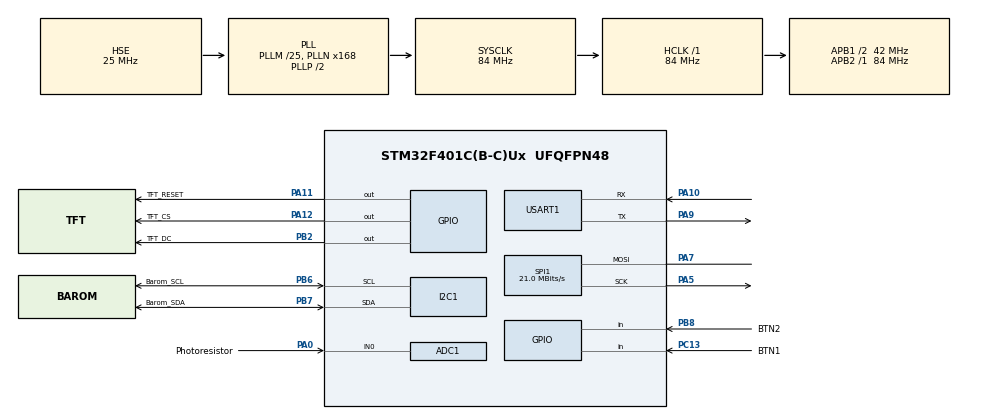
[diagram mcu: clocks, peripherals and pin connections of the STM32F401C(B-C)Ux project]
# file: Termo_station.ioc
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ADC1.Channel-0\#ChannelRegularConversion=ADC_CHANNEL_0
ADC1.NbrOfConversionFlag=1
ADC1.Rank-0\#ChannelRegularConversion=1
ADC1.SamplingTime-0\#ChannelRegularConversion=ADC_SAMPLETIME_3CYCLES
ADC1.master=1
Mcu.Family=STM32F4
Mcu.Name=STM32F401C(B-C)Ux
Mcu.Package=UFQFPN48
NVIC.PriorityGroup=NVIC_PRIORITYGROUP_4
NVIC.TIM2_IRQn=true\:0\:0\:false\:false\:true\:true\:true\:true
NVIC.TIM4_IRQn=true\:0\:0\:false\:false\:true\:true\:true\:true
PA0-WKUP.GPIO_Label=Photoresistor
PA0-WKUP.Signal=ADCx_IN0
PA10.Mode=Asynchronous
PA10.Signal=USART1_RX
PA11.GPIO_Label=TFT_RESET
PA11.Signal=GPIO_Output
PA12.GPIO_Label=TFT_CS
PA12.Signal=GPIO_Output
PA13.Mode=Serial_Wire
PA13.Signal=SYS_JTMS-SWDIO
PA14.Mode=Serial_Wire
PA14.Signal=SYS_JTCK-SWCLK
PA5.Mode=Simplex_Bidirectional_Master
PA5.Signal=SPI1_SCK
PA7.Mode=Simplex_Bidirectional_Master
PA7.Signal=SPI1_MOSI
PA9.Mode=Asynchronous
PA9.Signal=USART1_TX
PB2.GPIO_Label=TFT_DC
PB2.Signal=GPIO_Output
PB6.GPIO_Label=Barom_SCL
PB6.Mode=I2C
PB6.Signal=I2C1_SCL
PB7.GPIO_Label=Barom_SDA
PB7.Mode=I2C
PB7.Signal=I2C1_SDA
PB8.GPIO_Label=BTN2
PB8.GPIO_PuPd=GPIO_PULLDOWN
PB8.Signal=GPIO_Input
PC13-ANTI_TAMP.GPIO_Label=BTN1
PC13-ANTI_TAMP.GPIO_PuPd=GPIO_PULLDOWN
PC13-ANTI_TAMP.Signal=GPIO_Input
PC14-OSC32_IN.Mode=LSE-External-Oscillator
PC14-OSC32_IN.Signal=RCC_OSC32_IN
PC15-OSC32_OUT.Mode=LSE-External-Oscillator
PC15-OSC32_OUT.Signal=RCC_OSC32_OUT
PH0\ -\ OSC_IN.Mode=HSE-External-Oscillator
PH0\ -\ OSC_IN.Signal=RCC_OSC_IN
PH1\ -\ OSC_OUT.Mode=HSE-External-Oscillator
PH1\ -\ OSC_OUT.Signal=RCC_OSC_OUT
ProjectManager.HeapSize=0x200
ProjectManager.StackSize=0x400
ProjectManager.TargetToolchain=MDK-ARM V5.32
RCC.48MHZClocksFreq_Value=42000000
RCC.AHBFreq_Value=84000000
RCC.APB1CLKDivider=RCC_HCLK_DIV2
RCC.APB1Freq_Value=42000000
RCC.APB1TimFreq_Value=84000000
RCC.APB2Freq_Value=84000000
RCC.APB2TimFreq_Value=84000000
RCC.CortexFreq_Value=84000000
RCC.HCLKFreq_Value=84000000
RCC.HSE_VALUE=25000000
RCC.HSI_VALUE=16000000
RCC.PLLM=25
RCC.PLLN=168
RCC.PLLSourceVirtual=RCC_PLLSOURCE_HSE
RCC.RCC_RTC_Clock_Source=RCC_RTCCLKSOURCE_LSE
RCC.RCC_RTC_Clock_SourceVirtual=RCC_RTCCLKSOURCE_LSE
RCC.SYSCLKFreq_VALUE=84000000
RCC.SYSCLKSource=RCC_SYSCLKSOURCE_PLLCLK
RCC.VCOOutputFreq_Value=168000000
RTC.Date=31
RTC.Hours=19
RTC.Minutes=10
RTC.Month=RTC_MONTH_MARCH
RTC.Seconds=10
RTC.WeekDay=RTC_WEEKDAY_THURSDAY
RTC.Year=22
SH.ADCx_IN0.0=ADC1_IN0,IN0
SPI1.BaudRatePrescaler=SPI_BAUDRATEPRESCALER_4
SPI1.CalculateBaudRate=21.0 MBits/s
SPI1.Direction=SPI_DIRECTION_1LINE
SPI1.Mode=SPI_MODE_MASTER
SPI1.VirtualType=VM_MASTER
TIM2.AutoReloadPreload=TIM_AUTORELOAD_PRELOAD_ENABLE
TIM2.Period=42000
TIM2.Prescaler=2000
TIM3.Period=65535
TIM4.AutoReloadPreload=TIM_AUTORELOAD_PRELOAD_ENABLE
TIM4.Period=21000
TIM4.Prescaler=1000
USART1.VirtualMode=VM_ASYNC
VP_RTC_VS_RTC_Activate.Mode=RTC_Enabled
VP_RTC_VS_RTC_Calendar.Mode=RTC_Calendar
VP_TIM2_VS_ClockSourceINT.Mode=Internal
VP_TIM3_VS_ClockSourceINT.Mode=Internal
VP_TIM4_VS_ClockSourceINT.Mode=Internal
board=custom

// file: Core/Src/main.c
/* USER CODE BEGIN Header */
/**
  ******************************************************************************
  * @file           : main.c
  * @brief          : Main program body
  ******************************************************************************
  * @attention
  *
  * Copyright (c) 2022 STMicroelectronics.
  * All rights reserved.
  *
  * This software is licensed under terms that can be found in the LICENSE file
  * in the root directory of this software component.
  * If no LICENSE file comes with this software, it is provided AS-IS.
  *
  ******************************************************************************
  */
/* USER CODE END Header */
#include "main.h"

/* USER CODE BEGIN Includes */
#include "stdio.h"
#include "st7735.h"
#include "fonts.h"
#include <string.h>
#include "BME280.h"
#include "RTC.h"
#include "PhotoR.h"
/* USER CODE END Includes */

/* USER CODE BEGIN PD */
#define BTN_PRESS_TIME 3000 //function returns microseconds!
/* USER CODE END PD */

ADC_HandleTypeDef hadc1;

I2C_HandleTypeDef hi2c1;

RTC_HandleTypeDef hrtc;

SPI_HandleTypeDef hspi1;

TIM_HandleTypeDef htim2;
TIM_HandleTypeDef htim3;
TIM_HandleTypeDef htim4;

UART_HandleTypeDef huart1;

/* USER CODE BEGIN PV */
//typedef enum {
//	timer_first,
//	timer_1 = timer_first, //Not used
//	timer_2,
//	timer_3,               //Not used
//	timer_4,
//	timer_last
//} etimer_callback_t;

char str1[100];
volatile uint32_t timer_val = 0;

#ifdef __GNUC__
/* With GCC, small printf (option LD Linker->Libraries->Small printf
   set to 'Yes') calls __io_putchar() */
#define PUTCHAR_PROTOTYPE int __io_putchar(int ch)
#else
#define PUTCHAR_PROTOTYPE int fputc(int ch, FILE *f)
#endif /* __GNUC__ */

/**
  * @brief  Retargets the C library printf function to the USART.
  * @param  None
  * @retval None
  */
PUTCHAR_PROTOTYPE
{
  /* Place your implementation of fputc here */
  /* e.g. write a character to the USART3 and Loop until the end of transmission */
  HAL_UART_Transmit(&huart1, (uint8_t *)&ch, 1, 0xFFFF);

  return ch;
}
/* USER CODE END PV */

void SystemClock_Config(void);
static void MX_GPIO_Init(void);
static void MX_USART1_UART_Init(void);
static void MX_SPI1_Init(void);
static void MX_ADC1_Init(void);
static void MX_I2C1_Init(void);
static void MX_RTC_Init(void);
static void MX_TIM3_Init(void);
static void MX_TIM4_Init(void);
static void MX_TIM2_Init(void);

int main(void)
{

  /* MCU Configuration--------------------------------------------------------*/

  /* Reset of all peripherals, Initializes the Flash interface and the Systick. */
  HAL_Init();

  /* Configure the system clock */
  SystemClock_Config();

  /* Initialize all configured peripherals */
  MX_GPIO_Init();
  MX_USART1_UART_Init();
  MX_SPI1_Init();
  MX_ADC1_Init();
  MX_I2C1_Init();
  MX_RTC_Init();
  MX_TIM3_Init();
  MX_TIM4_Init();
  MX_TIM2_Init();
  /* USER CODE BEGIN 2 */
	HAL_Delay(200);
	ST7735_Init();
	HAL_Delay(200);
	ST7735_FillScreen(ST7735_GREY);
  ST7735_WriteString(5, 5, "MY", Font_16x26, ST7735_BLACK, ST7735_GREY);
  ST7735_WriteString(5, 31, "HOME", Font_16x26, ST7735_BLACK, ST7735_GREY);
  ST7735_WriteString(5, 57, "CLIMATE", Font_16x26, ST7735_BLACK, ST7735_GREY);
	ST7735_WriteString(5, 83, "STATION", Font_16x26, ST7735_BLACK, ST7735_GREY);
  HAL_Delay(1000);
	ST7735_FillScreen(ST7735_BLACK);
	Termo_Station_ini();
	HAL_TIM_Base_Start(&htim3);
	HAL_TIM_Base_Start_IT(&htim2);
	HAL_TIM_Base_Start_IT(&htim4);
	BME280_Init();
	if (HAL_RTCEx_BKUPRead(&hrtc, RTC_BKP_DR1) != RTC_BCKP_RGSTR){
		set_time();
	}
  /* USER CODE END 2 */

  /* Infinite loop */
  /* USER CODE BEGIN WHILE */
  while (1)
  {
		//Barometer and Photoresistor updates via timer interrupts
		get_time();
		timer_val = __HAL_TIM_GET_COUNTER(&htim3);
		while (BTN_A_Read == 1) {
			if ((__HAL_TIM_GET_COUNTER(&htim3) - timer_val) == BTN_PRESS_TIME) {  //divide because of microseconds
				while (!configure_time()){
					//In function
				}
			}
		}
		timer_val = 0;

    /* USER CODE END WHILE */

  }
}

void SystemClock_Config(void)
{
  RCC_OscInitTypeDef RCC_OscInitStruct = {0};
  RCC_ClkInitTypeDef RCC_ClkInitStruct = {0};

  /** Configure the main internal regulator output voltage
  */
  __HAL_RCC_PWR_CLK_ENABLE();
  __HAL_PWR_VOLTAGESCALING_CONFIG(PWR_REGULATOR_VOLTAGE_SCALE2);

  /** Initializes the RCC Oscillators according to the specified parameters
  * in the RCC_OscInitTypeDef structure.
  */
  RCC_OscInitStruct.OscillatorType = RCC_OSCILLATORTYPE_HSE|RCC_OSCILLATORTYPE_LSE;
  RCC_OscInitStruct.HSEState = RCC_HSE_ON;
  RCC_OscInitStruct.LSEState = RCC_LSE_ON;
  RCC_OscInitStruct.PLL.PLLState = RCC_PLL_ON;
  RCC_OscInitStruct.PLL.PLLSource = RCC_PLLSOURCE_HSE;
  RCC_OscInitStruct.PLL.PLLM = 25;
  RCC_OscInitStruct.PLL.PLLN = 168;
  RCC_OscInitStruct.PLL.PLLP = RCC_PLLP_DIV2;
  RCC_OscInitStruct.PLL.PLLQ = 4;
  if (HAL_RCC_OscConfig(&RCC_OscInitStruct) != HAL_OK)
  {
    Error_Handler();
  }

  /** Initializes the CPU, AHB and APB buses clocks
  */
  RCC_ClkInitStruct.ClockType = RCC_CLOCKTYPE_HCLK|RCC_CLOCKTYPE_SYSCLK
                              |RCC_CLOCKTYPE_PCLK1|RCC_CLOCKTYPE_PCLK2;
  RCC_ClkInitStruct.SYSCLKSource = RCC_SYSCLKSOURCE_PLLCLK;
  RCC_ClkInitStruct.AHBCLKDivider = RCC_SYSCLK_DIV1;
  RCC_ClkInitStruct.APB1CLKDivider = RCC_HCLK_DIV2;
  RCC_ClkInitStruct.APB2CLKDivider = RCC_HCLK_DIV1;

  if (HAL_RCC_ClockConfig(&RCC_ClkInitStruct, FLASH_LATENCY_2) != HAL_OK)
  {
    Error_Handler();
  }
}

static void MX_ADC1_Init(void)
{

  ADC_ChannelConfTypeDef sConfig = {0};

  /** Configure the global features of the ADC (Clock, Resolution, Data Alignment and number of conversion)
  */
  hadc1.Instance = ADC1;
  hadc1.Init.ClockPrescaler = ADC_CLOCK_SYNC_PCLK_DIV4;
  hadc1.Init.Resolution = ADC_RESOLUTION_12B;
  hadc1.Init.ScanConvMode = DISABLE;
  hadc1.Init.ContinuousConvMode = DISABLE;
  hadc1.Init.DiscontinuousConvMode = DISABLE;
  hadc1.Init.ExternalTrigConvEdge = ADC_EXTERNALTRIGCONVEDGE_NONE;
  hadc1.Init.ExternalTrigConv = ADC_SOFTWARE_START;
  hadc1.Init.DataAlign = ADC_DATAALIGN_RIGHT;
  hadc1.Init.NbrOfConversion = 1;
  hadc1.Init.DMAContinuousRequests = DISABLE;
  hadc1.Init.EOCSelection = ADC_EOC_SINGLE_CONV;
  if (HAL_ADC_Init(&hadc1) != HAL_OK)
  {
    Error_Handler();
  }

  /** Configure for the selected ADC regular channel its corresponding rank in the sequencer and its sample time.
  */
  sConfig.Channel = ADC_CHANNEL_0;
  sConfig.Rank = 1;
  sConfig.SamplingTime = ADC_SAMPLETIME_3CYCLES;
  if (HAL_ADC_ConfigChannel(&hadc1, &sConfig) != HAL_OK)
  {
    Error_Handler();
  }

}

static void MX_I2C1_Init(void)
{

  hi2c1.Instance = I2C1;
  hi2c1.Init.ClockSpeed = 100000;
  hi2c1.Init.DutyCycle = I2C_DUTYCYCLE_2;
  hi2c1.Init.OwnAddress1 = 0;
  hi2c1.Init.AddressingMode = I2C_ADDRESSINGMODE_7BIT;
  hi2c1.Init.DualAddressMode = I2C_DUALADDRESS_DISABLE;
  hi2c1.Init.OwnAddress2 = 0;
  hi2c1.Init.GeneralCallMode = I2C_GENERALCALL_DISABLE;
  hi2c1.Init.NoStretchMode = I2C_NOSTRETCH_DISABLE;
  if (HAL_I2C_Init(&hi2c1) != HAL_OK)
  {
    Error_Handler();
  }

}

static void MX_RTC_Init(void)
{

  /** Initialize RTC Only
  */
  hrtc.Instance = RTC;
  hrtc.Init.HourFormat = RTC_HOURFORMAT_24;
  hrtc.Init.AsynchPrediv = 127;
  hrtc.Init.SynchPrediv = 255;
  hrtc.Init.OutPut = RTC_OUTPUT_DISABLE;
  hrtc.Init.OutPutPolarity = RTC_OUTPUT_POLARITY_HIGH;
  hrtc.Init.OutPutType = RTC_OUTPUT_TYPE_OPENDRAIN;
  if (HAL_RTC_Init(&hrtc) != HAL_OK)
  {
    Error_Handler();
  }

  /** Initialize RTC and set the Time and Date
  */

}

static void MX_SPI1_Init(void)
{

  /* SPI1 parameter configuration*/
  hspi1.Instance = SPI1;
  hspi1.Init.Mode = SPI_MODE_MASTER;
  hspi1.Init.Direction = SPI_DIRECTION_1LINE;
  hspi1.Init.DataSize = SPI_DATASIZE_8BIT;
  hspi1.Init.CLKPolarity = SPI_POLARITY_LOW;
  hspi1.Init.CLKPhase = SPI_PHASE_1EDGE;
  hspi1.Init.NSS = SPI_NSS_SOFT;
  hspi1.Init.BaudRatePrescaler = SPI_BAUDRATEPRESCALER_4;
  hspi1.Init.FirstBit = SPI_FIRSTBIT_MSB;
  hspi1.Init.TIMode = SPI_TIMODE_DISABLE;
  hspi1.Init.CRCCalculation = SPI_CRCCALCULATION_DISABLE;
  hspi1.Init.CRCPolynomial = 10;
  if (HAL_SPI_Init(&hspi1) != HAL_OK)
  {
    Error_Handler();
  }

}

static void MX_TIM2_Init(void)
{

  TIM_ClockConfigTypeDef sClockSourceConfig = {0};
  TIM_MasterConfigTypeDef sMasterConfig = {0};

  htim2.Instance = TIM2;
  htim2.Init.Prescaler = 1000-1;
  htim2.Init.CounterMode = TIM_COUNTERMODE_UP;
  htim2.Init.Period = 28000-1;
  htim2.Init.ClockDivision = TIM_CLOCKDIVISION_DIV1;
  htim2.Init.AutoReloadPreload = TIM_AUTORELOAD_PRELOAD_ENABLE;
  if (HAL_TIM_Base_Init(&htim2) != HAL_OK)
  {
    Error_Handler();
  }
  sClockSourceConfig.ClockSource = TIM_CLOCKSOURCE_INTERNAL;
  if (HAL_TIM_ConfigClockSource(&htim2, &sClockSourceConfig) != HAL_OK)
  {
    Error_Handler();
  }
  sMasterConfig.MasterOutputTrigger = TIM_TRGO_RESET;
  sMasterConfig.MasterSlaveMode = TIM_MASTERSLAVEMODE_DISABLE;
  if (HAL_TIMEx_MasterConfigSynchronization(&htim2, &sMasterConfig) != HAL_OK)
  {
    Error_Handler();
  }

}

static void MX_TIM3_Init(void)
{

  TIM_ClockConfigTypeDef sClockSourceConfig = {0};
  TIM_MasterConfigTypeDef sMasterConfig = {0};

  htim3.Instance = TIM3;
  htim3.Init.Prescaler = 25000-1;
  htim3.Init.CounterMode = TIM_COUNTERMODE_UP;
  htim3.Init.Period = 16800-1;
  htim3.Init.ClockDivision = TIM_CLOCKDIVISION_DIV1;
  htim3.Init.AutoReloadPreload = TIM_AUTORELOAD_PRELOAD_ENABLE;
  if (HAL_TIM_Base_Init(&htim3) != HAL_OK)
  {
    Error_Handler();
  }
  sClockSourceConfig.ClockSource = TIM_CLOCKSOURCE_INTERNAL;
  if (HAL_TIM_ConfigClockSource(&htim3, &sClockSourceConfig) != HAL_OK)
  {
    Error_Handler();
  }
  sMasterConfig.MasterOutputTrigger = TIM_TRGO_RESET;
  sMasterConfig.MasterSlaveMode = TIM_MASTERSLAVEMODE_DISABLE;
  if (HAL_TIMEx_MasterConfigSynchronization(&htim3, &sMasterConfig) != HAL_OK)
  {
    Error_Handler();
  }

}

static void MX_TIM4_Init(void)
{

  TIM_ClockConfigTypeDef sClockSourceConfig = {0};
  TIM_MasterConfigTypeDef sMasterConfig = {0};

  htim4.Instance = TIM4;
  htim4.Init.Prescaler = 1000-1;
  htim4.Init.CounterMode = TIM_COUNTERMODE_UP;
  htim4.Init.Period = 21000-1;
  htim4.Init.ClockDivision = TIM_CLOCKDIVISION_DIV1;
  htim4.Init.AutoReloadPreload = TIM_AUTORELOAD_PRELOAD_ENABLE;
  if (HAL_TIM_Base_Init(&htim4) != HAL_OK)
  {
    Error_Handler();
  }
  sClockSourceConfig.ClockSource = TIM_CLOCKSOURCE_INTERNAL;
  if (HAL_TIM_ConfigClockSource(&htim4, &sClockSourceConfig) != HAL_OK)
  {
    Error_Handler();
  }
  sMasterConfig.MasterOutputTrigger = TIM_TRGO_RESET;
  sMasterConfig.MasterSlaveMode = TIM_MASTERSLAVEMODE_DISABLE;
  if (HAL_TIMEx_MasterConfigSynchronization(&htim4, &sMasterConfig) != HAL_OK)
  {
    Error_Handler();
  }

}

static void MX_USART1_UART_Init(void)
{

  huart1.Instance = USART1;
  huart1.Init.BaudRate = 115200;
  huart1.Init.WordLength = UART_WORDLENGTH_8B;
  huart1.Init.StopBits = UART_STOPBITS_1;
  huart1.Init.Parity = UART_PARITY_NONE;
  huart1.Init.Mode = UART_MODE_TX_RX;
  huart1.Init.HwFlowCtl = UART_HWCONTROL_NONE;
  huart1.Init.OverSampling = UART_OVERSAMPLING_16;
  if (HAL_UART_Init(&huart1) != HAL_OK)
  {
    Error_Handler();
  }

}

static void MX_GPIO_Init(void)
{
  GPIO_InitTypeDef GPIO_InitStruct = {0};

  /* GPIO Ports Clock Enable */
  __HAL_RCC_GPIOC_CLK_ENABLE();
  __HAL_RCC_GPIOH_CLK_ENABLE();
  __HAL_RCC_GPIOA_CLK_ENABLE();
  __HAL_RCC_GPIOB_CLK_ENABLE();

  /*Configure GPIO pin Output Level */
  HAL_GPIO_WritePin(TFT_DC_GPIO_Port, TFT_DC_Pin, GPIO_PIN_RESET);

  /*Configure GPIO pin Output Level */
  HAL_GPIO_WritePin(GPIOA, TFT_RESET_Pin|TFT_CS_Pin, GPIO_PIN_RESET);

  /*Configure GPIO pin : BTN1_Pin */
  GPIO_InitStruct.Pin = BTN1_Pin;
  GPIO_InitStruct.Mode = GPIO_MODE_INPUT;
  GPIO_InitStruct.Pull = GPIO_PULLDOWN;
  HAL_GPIO_Init(BTN1_GPIO_Port, &GPIO_InitStruct);

  /*Configure GPIO pin : TFT_DC_Pin */
  GPIO_InitStruct.Pin = TFT_DC_Pin;
  GPIO_InitStruct.Mode = GPIO_MODE_OUTPUT_PP;
  GPIO_InitStruct.Pull = GPIO_NOPULL;
  GPIO_InitStruct.Speed = GPIO_SPEED_FREQ_LOW;
  HAL_GPIO_Init(TFT_DC_GPIO_Port, &GPIO_InitStruct);

  /*Configure GPIO pins : TFT_RESET_Pin TFT_CS_Pin */
  GPIO_InitStruct.Pin = TFT_RESET_Pin|TFT_CS_Pin;
  GPIO_InitStruct.Mode = GPIO_MODE_OUTPUT_PP;
  GPIO_InitStruct.Pull = GPIO_NOPULL;
  GPIO_InitStruct.Speed = GPIO_SPEED_FREQ_LOW;
  HAL_GPIO_Init(GPIOA, &GPIO_InitStruct);

  /*Configure GPIO pin : BTN2_Pin */
  GPIO_InitStruct.Pin = BTN2_Pin;
  GPIO_InitStruct.Mode = GPIO_MODE_INPUT;
  GPIO_InitStruct.Pull = GPIO_PULLDOWN;
  HAL_GPIO_Init(BTN2_GPIO_Port, &GPIO_InitStruct);

}

/* USER CODE BEGIN 4 */
void HAL_TIM_PeriodElapsedCallback(TIM_HandleTypeDef *htim)
{
	//uint8_t RetVal;
  // Check which version of the timer triggered this callback and toggle LED
  if (htim == &htim2) {
    PhotoR_handle();
  }
	if (htim == &htim4) {
		Show_BME_Values();
	}
	//return RetVal;
}
/* USER CODE END 4 */

void Error_Handler(void)
{
  __disable_irq();
  while (1)
  {
  }
}
